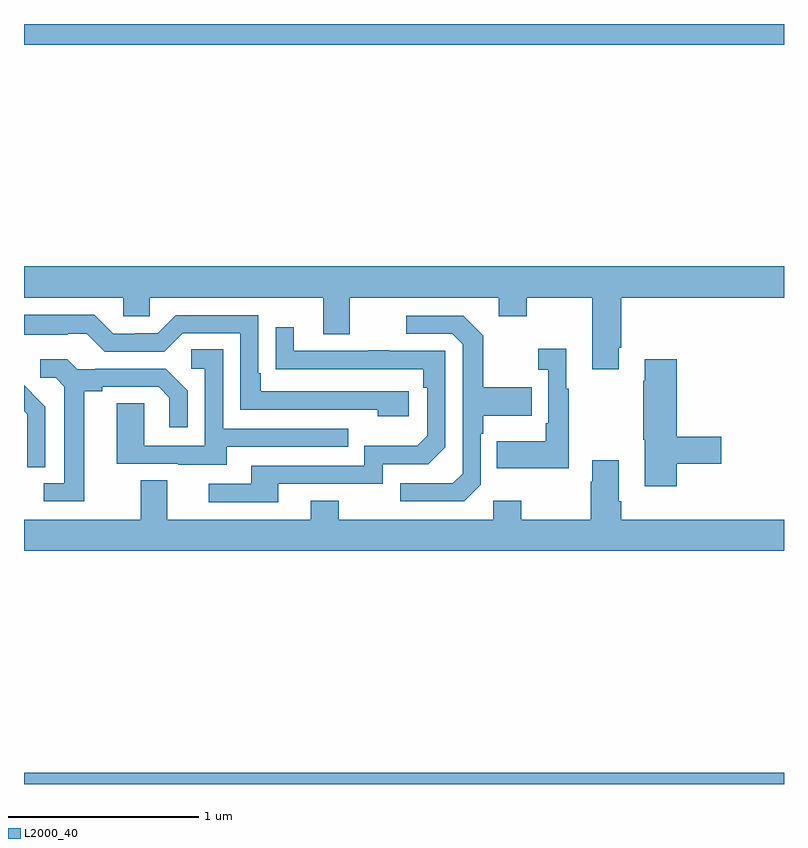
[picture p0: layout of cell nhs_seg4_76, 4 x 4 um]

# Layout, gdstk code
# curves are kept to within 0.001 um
import gdstk
lib = gdstk.Library(unit=1e-6, precision=1e-09)
def R(c, l, rs):  # rectangles x0, y0, x1, y1
    for r in rs: c.add(gdstk.rectangle(r[:2], r[2:], *l))
def P(c, l, *ps):  # polygons
    for p in ps: c.add(gdstk.Polygon(p, *l))
L2000_40 = (2000, 40)

nhs_seg4_76 = lib.new_cell('nhs_seg4_76')
R(nhs_seg4_76, L2000_40, [(113,820.9,117,820.96), (113,824.792,117,824.9)])
P(nhs_seg4_76, L2000_40, [(116.131,823.195),(116.144,823.195),(116.144,823.46),(117,823.46),(117,823.624),(113,823.624),(113,823.46),(113.523,823.46),(113.523,823.362),(113.661,823.362),(113.661,823.46),(114.575,823.46),(114.575,823.266),(114.715,823.266),(114.715,823.46),(115.499,823.46),(115.499,823.361),(115.647,823.361),(115.647,823.46),(115.991,823.46),(115.991,823.083),(116.131,823.083)],
  [(115.024,822.966),(114.247,822.966),(114.247,823.063),(114.234,823.063),(114.234,823.368),(113.799,823.368),(113.703,823.272),(113.585,823.272),(113.585,823.269),(113.469,823.269),(113.369,823.369),(113,823.369),(113,823.265),(113.231,823.265),(113.231,823.269),(113.331,823.269),(113.424,823.176),(113.739,823.176),(113.835,823.272),(114.138,823.272),(114.138,822.87),(114.863,822.87),(114.863,822.836),(115.024,822.836)],
  [(115.404,822.474),(115.404,822.743),(115.417,822.743),(115.417,822.839),(115.673,822.839),(115.673,822.987),(115.417,822.987),(115.417,823.259),(115.311,823.365),(115.011,823.365),(115.011,823.269),(115.254,823.269),(115.308,823.215),(115.308,822.534),(115.257,822.483),(114.981,822.483),(114.981,822.387),(115.317,822.387)],
  [(114.337,822.48),(114.888,822.48),(114.888,822.582),(115.128,822.582),(115.218,822.672),(115.218,823.179),(114.923,823.179),(114.923,823.184),(114.811,823.184),(114.811,823.179),(114.421,823.179),(114.421,823.303),(114.325,823.303),(114.325,823.084),(115.102,823.083),(115.102,822.986),(115.122,822.986),(115.122,822.732),(115.069,822.679),(114.792,822.679),(114.792,822.576),(114.197,822.576),(114.197,822.48),(113.973,822.48),(113.973,822.384),(114.337,822.384)],
  [(115.867,822.979),(115.855,822.979),(115.855,823.192),(115.707,823.192),(115.707,823.079),(115.758,823.079),(115.758,822.799),(115.746,822.799),(115.746,822.703),(115.489,822.703),(115.489,822.563),(115.867,822.563)],
  [(114.067,822.675),(114.707,822.675),(114.707,822.771),(114.048,822.771),(114.048,823.187),(113.88,823.187),(113.88,823.086),(113.952,823.086),(113.952,822.681),(113.634,822.681),(113.634,822.905),(113.489,822.905),(113.489,822.585),(113.813,822.585),(113.813,822.581),(114.067,822.581)],
  [(116.435,822.586),(116.671,822.586),(116.671,822.728),(116.435,822.728),(116.435,823.135),(116.267,823.135),(116.267,823.022),(116.26,823.022),(116.26,822.711),(116.267,822.711),(116.267,822.468),(116.435,822.468)],
  [(113.317,822.968),(113.413,822.968),(113.413,822.99),(113.708,822.99),(113.765,822.933),(113.765,822.777),(113.862,822.777),(113.862,822.97),(113.746,823.086),(113.374,823.086),(113.374,823.083),(113.28,823.083),(113.228,823.135),(113.085,823.135),(113.085,823.038),(113.166,823.038),(113.213,822.991),(113.213,822.483),(113.103,822.483),(113.103,822.387),(113.317,822.387)],
  [(113.112,822.886),(113.039,822.959),(113.04,822.96),(113,823),(113,822.863),(113.018,822.845),(113.018,822.722),(113.016,822.722),(113.016,822.568),(113.112,822.568)],
  [(117,822.292),(116.144,822.292),(116.144,822.388),(116.131,822.388),(116.131,822.604),(115.991,822.604),(115.991,822.491),(115.984,822.491),(115.984,822.292),(115.617,822.292),(115.617,822.391),(115.47,822.391),(115.47,822.292),(114.657,822.292),(114.657,822.391),(114.509,822.391),(114.509,822.292),(113.755,822.292),(113.755,822.5),(113.615,822.5),(113.615,822.292),(113,822.292),(113,822.128),(117,822.128)])

lib.write_gds('nhs_seg4_76.gds')
